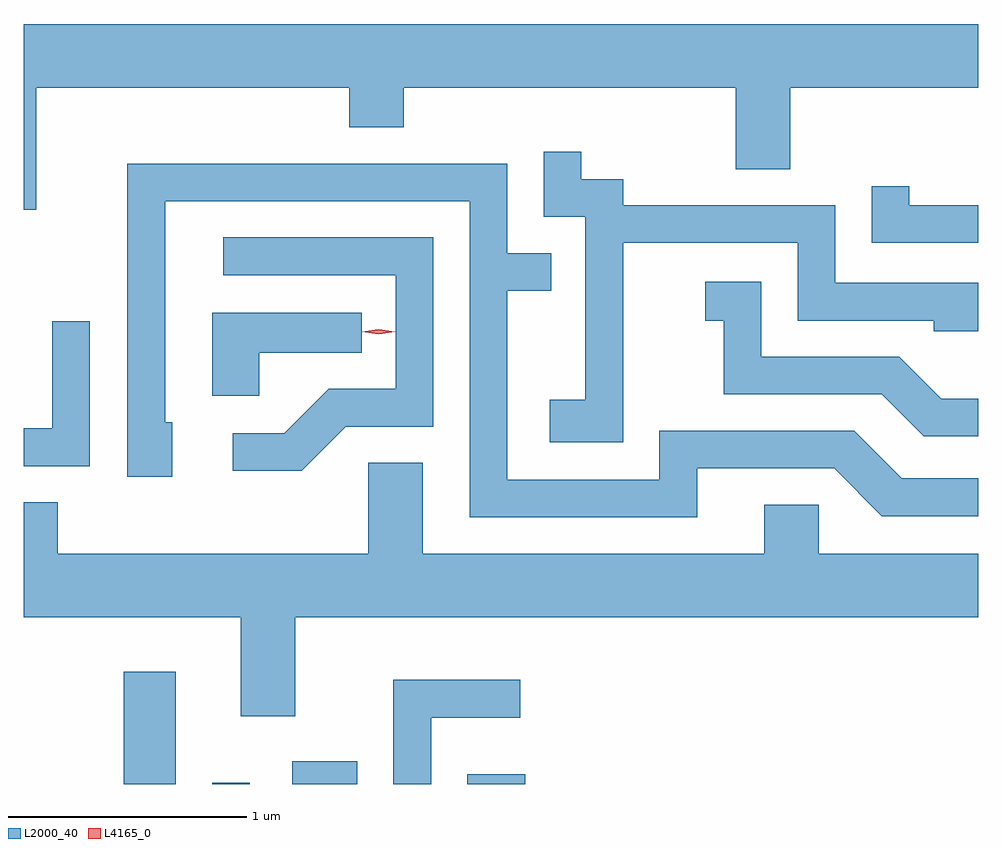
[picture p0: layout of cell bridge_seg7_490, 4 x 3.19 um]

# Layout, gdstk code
import gdstk
lib = gdstk.Library(unit=1e-6, precision=1e-09)
def R(c, l, rs):  # rectangles x0, y0, x1, y1
    for r in rs: c.add(gdstk.rectangle(r[:2], r[2:], *l))
def P(c, l, *ps):  # polygons
    for p in ps: c.add(gdstk.Polygon(p, *l))
L2000_40 = (2000, 40)
L4165_0 = (4165, 0)

bridge_seg7_490 = lib.new_cell('bridge_seg7_490')
R(bridge_seg7_490, L2000_40, [(1360.446,1693.638,1360.664,1694.109), (1360.816,1693.638,1360.974,1693.643), (1361.151,1693.638,1361.424,1693.734), (1361.886,1693.638,1362.129,1693.679)])
P(bridge_seg7_490, L2000_40, [(1360.079,1696.556),(1361.391,1696.556),(1361.391,1696.391),(1361.619,1696.391),(1361.619,1696.556),(1363.011,1696.556),(1363.011,1696.216),(1363.239,1696.216),(1363.239,1696.556),(1364.027,1696.556),(1364.027,1696.824),(1360.027,1696.824),(1360.027,1696.046),(1360.079,1696.046)],
  [(1362.539,1695.906),(1363.271,1695.906),(1363.271,1695.581),(1363.841,1695.581),(1363.841,1695.536),(1364.027,1695.536),(1364.027,1695.739),(1363.429,1695.739),(1363.429,1696.064),(1362.539,1696.064),(1362.539,1696.174),(1362.364,1696.174),(1362.364,1696.288),(1362.206,1696.288),(1362.206,1696.016),(1362.381,1696.016),(1362.381,1695.249),(1362.231,1695.249),(1362.231,1695.071),(1362.539,1695.071)],
  [(1362.849,1694.961),(1363.424,1694.961),(1363.624,1694.761),(1364.027,1694.761),(1364.027,1694.919),(1363.707,1694.919),(1363.507,1695.119),(1362.691,1695.119),(1362.691,1694.914),(1362.054,1694.914),(1362.054,1695.706),(1362.238,1695.706),(1362.238,1695.864),(1362.054,1695.864),(1362.054,1696.239),(1360.461,1696.239),(1360.461,1694.926),(1360.649,1694.926),(1360.649,1695.154),(1360.619,1695.154),(1360.619,1696.081),(1361.896,1696.081),(1361.896,1694.756),(1362.849,1694.756)],
  [(1364.027,1696.064),(1363.739,1696.064),(1363.739,1696.143),(1363.581,1696.143),(1363.581,1695.906),(1364.027,1695.906)],
  [(1361.377,1695.136),(1361.744,1695.136),(1361.744,1695.929),(1360.863,1695.929),(1360.863,1695.771),(1361.586,1695.771),(1361.586,1695.294),(1361.304,1695.294),(1361.119,1695.109),(1360.903,1695.109),(1360.903,1694.951),(1361.192,1694.951)],
  [(1364.027,1695.254),(1363.872,1695.254),(1363.697,1695.429),(1363.119,1695.429),(1363.119,1695.744),(1362.883,1695.744),(1362.883,1695.581),(1362.961,1695.581),(1362.961,1695.271),(1363.624,1695.271),(1363.799,1695.096),(1364.027,1695.096)],
  [(1361.014,1695.446),(1361.443,1695.446),(1361.443,1695.614),(1360.816,1695.614),(1360.816,1695.266),(1361.014,1695.266)],
  [(1360.304,1695.578),(1360.146,1695.578),(1360.146,1695.129),(1360.027,1695.129),(1360.027,1694.971),(1360.304,1694.971)],
  [(1361.164,1694.336),(1364.027,1694.336),(1364.027,1694.604),(1363.359,1694.604),(1363.359,1694.809),(1363.131,1694.809),(1363.131,1694.604),(1361.699,1694.604),(1361.699,1694.984),(1361.471,1694.984),(1361.471,1694.604),(1360.169,1694.604),(1360.169,1694.819),(1360.027,1694.819),(1360.027,1694.336),(1360.936,1694.336),(1360.936,1693.921),(1361.164,1693.921)],
  [(1361.734,1693.916),(1362.108,1693.916),(1362.108,1694.074),(1361.576,1694.074),(1361.576,1693.638),(1361.734,1693.638)])
P(bridge_seg7_490, L4165_0, [(1361.514,1695.524),(1361.444,1695.533),(1361.444,1695.534),(1361.444,1695.534),(1361.514,1695.544),(1361.583,1695.534),(1361.583,1695.534),(1361.583,1695.533)])

lib.write_gds('bridge_seg7_490.gds')
